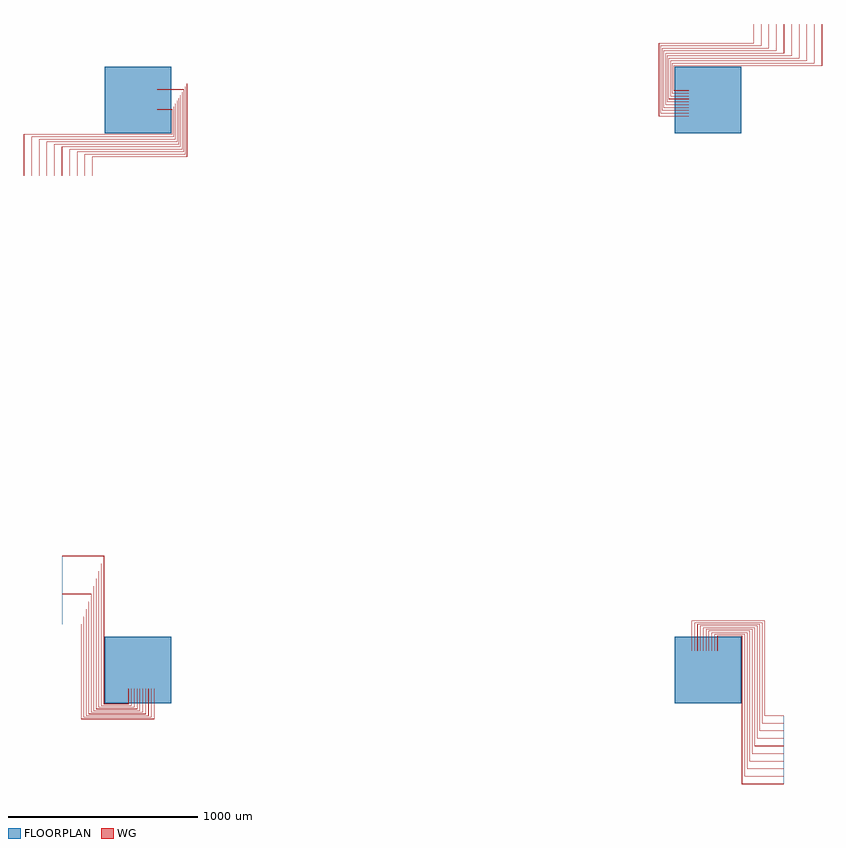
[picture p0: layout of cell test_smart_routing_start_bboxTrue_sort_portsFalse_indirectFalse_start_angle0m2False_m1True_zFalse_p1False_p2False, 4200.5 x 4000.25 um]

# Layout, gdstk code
import gdstk
lib = gdstk.Library(unit=1e-6, precision=1e-09)
def R(c, l, rs):  # rectangles x0, y0, x1, y1
    for r in rs: c.add(gdstk.rectangle(r[:2], r[2:], *l))
def P(c, l, *ps):  # polygons
    for p in ps: c.add(gdstk.Polygon(p, *l))
WG = (1, 0)
FLOORPLAN = (10, 0)

test_smart_routing_start = lib.new_cell('test_smart_routing_start_bboxTrue_sort_portsFalse_indirectFalse_start_angle0m2False_m1True_zFalse_p1False_p2False')
P(test_smart_routing_start, WG, [(-179.5,-179.5),(-179.5,599.75),(-400,599.75),(-400,600.25),(-179,600.25),(-179,-179),(-50.25,-179),(-50.25,-100),(-49.75,-100),(-49.75,-179.5)],
  [(-192.75,-188.25),(-192.75,559.75),(-400,559.75),(-400,560.25),(-192.25,560.25),(-192.25,-187.75),(-35.25,-187.75),(-35.25,-100),(-34.75,-100),(-34.75,-188.25)],
  [(-206,-197),(-206,519.75),(-400,519.75),(-400,520.25),(-205.5,520.25),(-205.5,-196.5),(-20.25,-196.5),(-20.25,-100),(-19.75,-100),(-19.75,-197)],
  [(-219.25,-205.75),(-219.25,479.75),(-400,479.75),(-400,480.25),(-218.75,480.25),(-218.75,-205.25),(-5.25,-205.25),(-5.25,-100),(-4.75,-100),(-4.75,-205.75)],
  [(-232.5,-214.5),(-232.5,439.75),(-400,439.75),(-400,440.25),(-232,440.25),(-232,-214),(9.75,-214),(9.75,-100),(10.25,-100),(10.25,-214.5)],
  [(-245.75,-223.25),(-245.75,399.75),(-400,399.75),(-400,400.25),(-245.25,400.25),(-245.25,-222.75),(24.75,-222.75),(24.75,-100),(25.25,-100),(25.25,-223.25)],
  [(-259,-232),(-259,359.75),(-400,359.75),(-400,360.25),(-258.5,360.25),(-258.5,-231.5),(39.75,-231.5),(39.75,-100),(40.25,-100),(40.25,-232)],
  [(-272.25,-240.75),(-272.25,319.75),(-400,319.75),(-400,320.25),(-271.75,320.25),(-271.75,-240.25),(54.75,-240.25),(54.75,-100),(55.25,-100),(55.25,-240.75)],
  [(-285.5,-249.5),(-285.5,279.75),(-400,279.75),(-400,280.25),(-285,280.25),(-285,-249),(69.75,-249),(69.75,-100),(70.25,-100),(70.25,-249.5)],
  [(-298.75,-258.25),(-298.75,239.75),(-400,239.75),(-400,240.25),(-298.25,240.25),(-298.25,-257.75),(84.75,-257.75),(84.75,-100),(85.25,-100),(85.25,-258.25)],
  [(-600.25,2600),(-600.25,2821),(179,2821),(179,2949.75),(100,2949.75),(100,2950.25),(179.5,2950.25),(179.5,2820.5),(-599.75,2820.5),(-599.75,2600)],
  [(-560.25,2600),(-560.25,2807.75),(187.75,2807.75),(187.75,2964.75),(100,2964.75),(100,2965.25),(188.25,2965.25),(188.25,2807.25),(-559.75,2807.25),(-559.75,2600)],
  [(-520.25,2600),(-520.25,2794.5),(196.5,2794.5),(196.5,2979.75),(100,2979.75),(100,2980.25),(197,2980.25),(197,2794),(-519.75,2794),(-519.75,2600)],
  [(-480.25,2600),(-480.25,2781.25),(205.25,2781.25),(205.25,2994.75),(100,2994.75),(100,2995.25),(205.75,2995.25),(205.75,2780.75),(-479.75,2780.75),(-479.75,2600)],
  [(-440.25,2600),(-440.25,2768),(214,2768),(214,3009.75),(100,3009.75),(100,3010.25),(214.5,3010.25),(214.5,2767.5),(-439.75,2767.5),(-439.75,2600)],
  [(-400.25,2600),(-400.25,2754.75),(222.75,2754.75),(222.75,3024.75),(100,3024.75),(100,3025.25),(223.25,3025.25),(223.25,2754.25),(-399.75,2754.25),(-399.75,2600)],
  [(-360.25,2600),(-360.25,2741.5),(231.5,2741.5),(231.5,3039.75),(100,3039.75),(100,3040.25),(232,3040.25),(232,2741),(-359.75,2741),(-359.75,2600)],
  [(-320.25,2600),(-320.25,2728.25),(240.25,2728.25),(240.25,3054.75),(100,3054.75),(100,3055.25),(240.75,3055.25),(240.75,2727.75),(-319.75,2727.75),(-319.75,2600)],
  [(-280.25,2600),(-280.25,2715),(249,2715),(249,3069.75),(100,3069.75),(100,3070.25),(249.5,3070.25),(249.5,2714.5),(-279.75,2714.5),(-279.75,2600)],
  [(-240.25,2600),(-240.25,2701.75),(257.75,2701.75),(257.75,3084.75),(100,3084.75),(100,3085.25),(258.25,3085.25),(258.25,2701.25),(-239.75,2701.25),(-239.75,2600)],
  [(3179,-600.25),(3179,179),(3050.25,179),(3050.25,100),(3049.75,100),(3049.75,179.5),(3179.5,179.5),(3179.5,-599.75),(3400,-599.75),(3400,-600.25)],
  [(3192.25,-560.25),(3192.25,187.75),(3035.25,187.75),(3035.25,100),(3034.75,100),(3034.75,188.25),(3192.75,188.25),(3192.75,-559.75),(3400,-559.75),(3400,-560.25)],
  [(3205.5,-520.25),(3205.5,196.5),(3020.25,196.5),(3020.25,100),(3019.75,100),(3019.75,197),(3206,197),(3206,-519.75),(3400,-519.75),(3400,-520.25)],
  [(3218.75,-480.25),(3218.75,205.25),(3005.25,205.25),(3005.25,100),(3004.75,100),(3004.75,205.75),(3219.25,205.75),(3219.25,-479.75),(3400,-479.75),(3400,-480.25)],
  [(3232,-440.25),(3232,214),(2990.25,214),(2990.25,100),(2989.75,100),(2989.75,214.5),(3232.5,214.5),(3232.5,-439.75),(3400,-439.75),(3400,-440.25)],
  [(3245.25,-400.25),(3245.25,222.75),(2975.25,222.75),(2975.25,100),(2974.75,100),(2974.75,223.25),(3245.75,223.25),(3245.75,-399.75),(3400,-399.75),(3400,-400.25)],
  [(3258.5,-360.25),(3258.5,231.5),(2960.25,231.5),(2960.25,100),(2959.75,100),(2959.75,232),(3259,232),(3259,-359.75),(3400,-359.75),(3400,-360.25)],
  [(3271.75,-320.25),(3271.75,240.25),(2945.25,240.25),(2945.25,100),(2944.75,100),(2944.75,240.75),(3272.25,240.75),(3272.25,-319.75),(3400,-319.75),(3400,-320.25)],
  [(3285,-280.25),(3285,249),(2930.25,249),(2930.25,100),(2929.75,100),(2929.75,249.5),(3285.5,249.5),(3285.5,-279.75),(3400,-279.75),(3400,-280.25)],
  [(3298.25,-240.25),(3298.25,257.75),(2915.25,257.75),(2915.25,100),(2914.75,100),(2914.75,258.25),(3298.75,258.25),(3298.75,-239.75),(3400,-239.75),(3400,-240.25)],
  [(2820.5,3049.75),(2820.5,3179.5),(3599.75,3179.5),(3599.75,3400),(3600.25,3400),(3600.25,3179),(2821,3179),(2821,3050.25),(2900,3050.25),(2900,3049.75)],
  [(2811.75,3034.75),(2811.75,3192.75),(3559.75,3192.75),(3559.75,3400),(3560.25,3400),(3560.25,3192.25),(2812.25,3192.25),(2812.25,3035.25),(2900,3035.25),(2900,3034.75)],
  [(2803,3019.75),(2803,3206),(3519.75,3206),(3519.75,3400),(3520.25,3400),(3520.25,3205.5),(2803.5,3205.5),(2803.5,3020.25),(2900,3020.25),(2900,3019.75)],
  [(2794.25,3004.75),(2794.25,3219.25),(3479.75,3219.25),(3479.75,3400),(3480.25,3400),(3480.25,3218.75),(2794.75,3218.75),(2794.75,3005.25),(2900,3005.25),(2900,3004.75)],
  [(2785.5,2989.75),(2785.5,3232.5),(3439.75,3232.5),(3439.75,3400),(3440.25,3400),(3440.25,3232),(2786,3232),(2786,2990.25),(2900,2990.25),(2900,2989.75)],
  [(2776.75,2974.75),(2776.75,3245.75),(3399.75,3245.75),(3399.75,3400),(3400.25,3400),(3400.25,3245.25),(2777.25,3245.25),(2777.25,2975.25),(2900,2975.25),(2900,2974.75)],
  [(2768,2959.75),(2768,3259),(3359.75,3259),(3359.75,3400),(3360.25,3400),(3360.25,3258.5),(2768.5,3258.5),(2768.5,2960.25),(2900,2960.25),(2900,2959.75)],
  [(2759.25,2944.75),(2759.25,3272.25),(3319.75,3272.25),(3319.75,3400),(3320.25,3400),(3320.25,3271.75),(2759.75,3271.75),(2759.75,2945.25),(2900,2945.25),(2900,2944.75)],
  [(2750.5,2929.75),(2750.5,3285.5),(3279.75,3285.5),(3279.75,3400),(3280.25,3400),(3280.25,3285),(2751,3285),(2751,2930.25),(2900,2930.25),(2900,2929.75)],
  [(2741.75,2914.75),(2741.75,3298.75),(3239.75,3298.75),(3239.75,3400),(3240.25,3400),(3240.25,3298.25),(2742.25,3298.25),(2742.25,2915.25),(2900,2915.25),(2900,2914.75)])
R(test_smart_routing_start, FLOORPLAN, [(-175,-175,175,175), (2825,-175,3175,175), (-175,2825,175,3175), (2825,2825,3175,3175)])
P(test_smart_routing_start, FLOORPLAN, [(-400,240),(-400,600),(-400,600),(-400,240)],
  [(-600,2600),(-600,2600),(-240,2600),(-240,2600)],
  [(3400,-600),(3400,-240),(3400,-240),(3400,-600)],
  [(3240,3400),(3240,3400),(3600,3400),(3600,3400)])

lib.write_gds('test_smart_routing_start_bboxTrue_sort_portsFalse_indirectFalse_start_angle0m2False_m1True_zFalse_p1False_p2False.gds')
